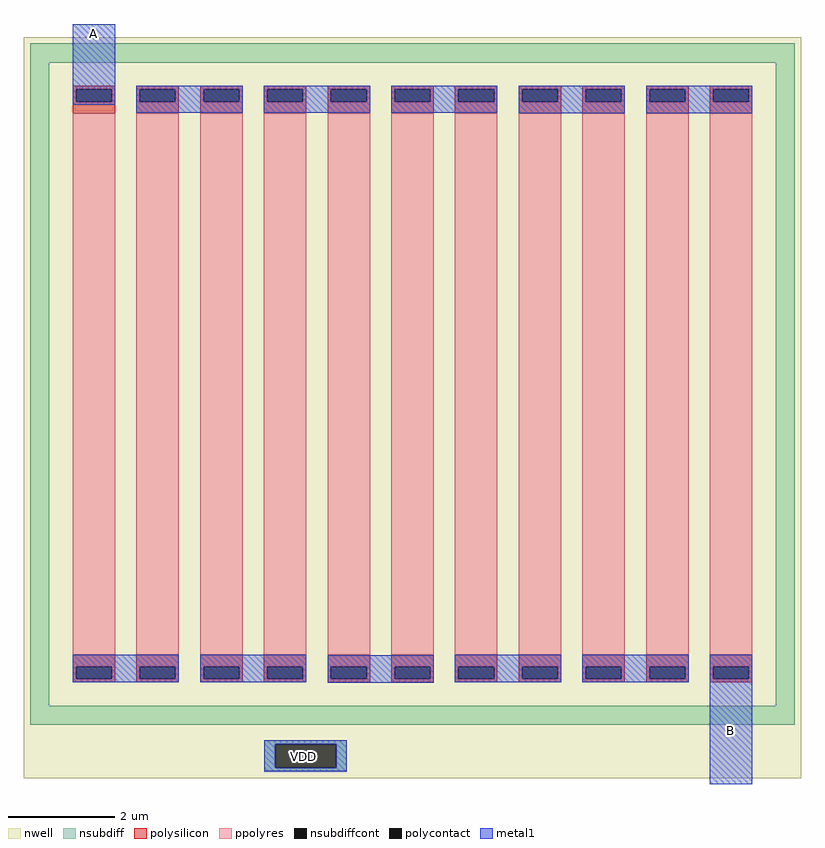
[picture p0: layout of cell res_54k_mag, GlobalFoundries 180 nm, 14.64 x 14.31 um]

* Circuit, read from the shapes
.subckt res_54k_mag A B VDD
XR1 A n1 VSUBS ppolyf_u r_width=0.8u r_length=10.2u
XR2 n2 n1 VSUBS ppolyf_u r_width=0.8u r_length=10.2u
XR3 n2 n3 VSUBS ppolyf_u r_width=0.8u r_length=10.2u
XR4 n4 n3 VSUBS ppolyf_u r_width=0.8u r_length=10.2u
XR5 n4 n5 VSUBS ppolyf_u r_width=0.8u r_length=10.2u
XR6 n6 n5 VSUBS ppolyf_u r_width=0.8u r_length=10.2u
XR7 n6 n7 VSUBS ppolyf_u r_width=0.8u r_length=10.2u
XR8 n8 n7 VSUBS ppolyf_u r_width=0.8u r_length=10.2u
XR9 n8 n9 VSUBS ppolyf_u r_width=0.8u r_length=10.2u
XR10 n10 n9 VSUBS ppolyf_u r_width=0.8u r_length=10.2u
XR11 n10 B VSUBS ppolyf_u r_width=0.8u r_length=10.2u
.ends

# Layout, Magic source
magic
tech gf180mcuC
magscale 1 10
<< nwell >>
rect -60 -238 2868 -60
<< nsubdiff >>
rect 845 -110 1156 -94
rect 845 -197 887 -110
rect 1116 -197 1156 -110
rect 845 -212 1156 -197
<< nsubdiffcont >>
rect 887 -197 1116 -110
<< metal1 >>
rect 124 2298 284 2603
rect 363 2268 764 2371
rect 844 2268 1244 2371
rect 1324 2268 1724 2371
rect 1804 2267 2204 2370
rect 2284 2267 2684 2370
rect 124 124 524 227
rect 604 124 1004 227
rect 1084 123 1484 226
rect 1564 124 1964 227
rect 2044 124 2444 227
rect 845 -110 1156 -94
rect 845 -197 887 -110
rect 1116 -197 1156 -110
rect 845 -211 1156 -197
rect 2524 -259 2684 228
use ppolyf_u_UP4H6P  ppolyf_u_UP4H6P_0
transform 1 0 1404 0 1 1247
box -1464 -1307 1464 1307
<< labels >>
flabel metal1 202 2569 202 2569 0 FreeSans 480 0 0 0 A
port 0 nsew
flabel metal1 2600 -57 2600 -57 0 FreeSans 480 0 0 0 B
port 1 nsew
flabel nsubdiffcont 995 -155 995 -155 0 FreeSans 480 0 0 0 VDD
port 2 nsew
<< end >>

# cell ppolyf_u_UP4H6P: kit device ppolyf_u, w 0.8 l 10.2 m 1 nx 11 wmin 0.80 lmin 1.00 rho 315 val 4.401k dummy 0 dw 0.07 term 0.0 sterm 0.0 caplen 0.4 snake 0 glc 0 grc 0 gtc 0 gbc 0 roverlap 0 endcov 100 full_metal 0
